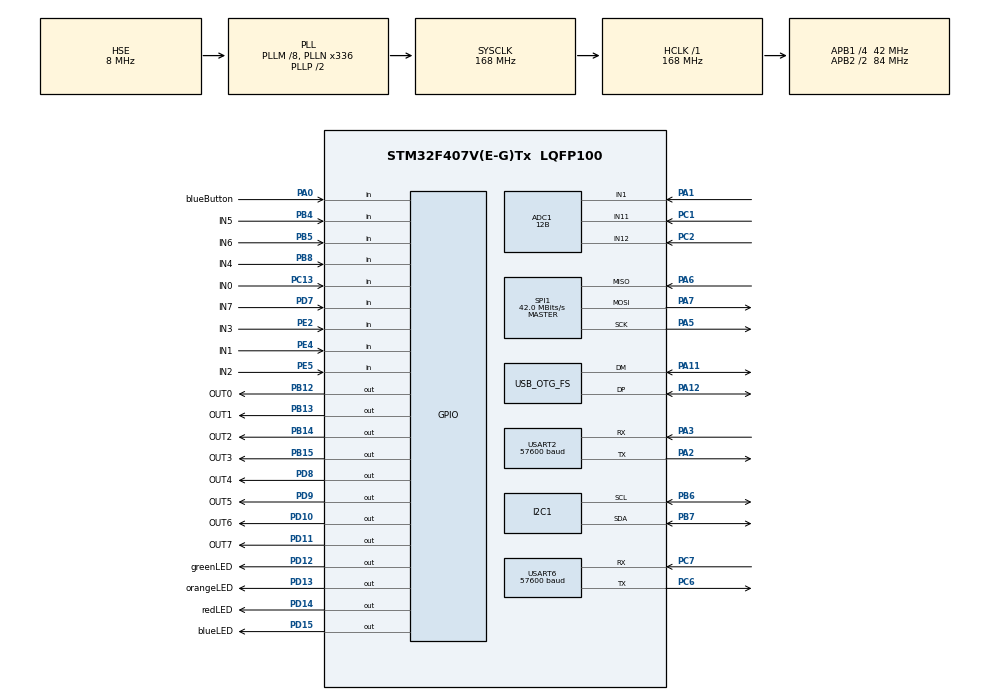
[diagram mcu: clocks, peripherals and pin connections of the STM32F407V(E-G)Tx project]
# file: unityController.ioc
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ADC1.Channel-121\#ChannelRegularConversion=ADC_CHANNEL_1
ADC1.Channel-122\#ChannelRegularConversion=ADC_CHANNEL_11
ADC1.Channel-123\#ChannelRegularConversion=ADC_CHANNEL_12
ADC1.ClockPrescaler=ADC_CLOCK_SYNC_PCLK_DIV4
ADC1.ContinuousConvMode=ENABLE
ADC1.DMAContinuousRequests=ENABLE
ADC1.DataAlign=ADC_DATAALIGN_RIGHT
ADC1.DiscontinuousConvMode=DISABLE
ADC1.EOCSelection=ADC_EOC_SINGLE_CONV
ADC1.EnableAnalogWatchDog=false
ADC1.ExternalTrigConv=ADC_SOFTWARE_START
ADC1.ExternalTrigConvEdge=ADC_EXTERNALTRIGCONVEDGE_NONE
ADC1.InjNumberOfConversion=0
ADC1.NbrOfConversion=3
ADC1.NbrOfConversionFlag=1
ADC1.Rank-121\#ChannelRegularConversion=1
ADC1.Rank-122\#ChannelRegularConversion=2
ADC1.Rank-123\#ChannelRegularConversion=3
ADC1.Resolution=ADC_RESOLUTION_12B
ADC1.SamplingTime-121\#ChannelRegularConversion=ADC_SAMPLETIME_84CYCLES
ADC1.SamplingTime-122\#ChannelRegularConversion=ADC_SAMPLETIME_84CYCLES
ADC1.SamplingTime-123\#ChannelRegularConversion=ADC_SAMPLETIME_84CYCLES
ADC1.ScanConvMode=ENABLE
ADC1.master=1
Dma.ADC1.0.Direction=DMA_PERIPH_TO_MEMORY
Dma.ADC1.0.FIFOMode=DMA_FIFOMODE_DISABLE
Dma.ADC1.0.Instance=DMA2_Stream0
Dma.ADC1.0.MemDataAlignment=DMA_MDATAALIGN_HALFWORD
Dma.ADC1.0.MemInc=DMA_MINC_ENABLE
Dma.ADC1.0.Mode=DMA_CIRCULAR
Dma.ADC1.0.PeriphDataAlignment=DMA_PDATAALIGN_HALFWORD
Dma.ADC1.0.PeriphInc=DMA_PINC_DISABLE
Dma.ADC1.0.Priority=DMA_PRIORITY_LOW
Dma.Request0=ADC1
Mcu.Family=STM32F4
Mcu.Name=STM32F407V(E-G)Tx
Mcu.Package=LQFP100
NVIC.DMA2_Stream0_IRQn=true\:0\:0\:false\:false\:true\:true
NVIC.OTG_FS_IRQn=true\:0\:0\:false\:false\:true\:true
NVIC.PriorityGroup=NVIC_PRIORITYGROUP_4
PA0-WKUP.GPIO_Label=blueButton
PA0-WKUP.Signal=GPIO_Input
PA1.Signal=ADCx_IN1
PA11.Mode=Device_Only
PA11.Signal=USB_OTG_FS_DM
PA12.Mode=Device_Only
PA12.Signal=USB_OTG_FS_DP
PA2.Mode=Asynchronous
PA2.Signal=USART2_TX
PA3.Mode=Asynchronous
PA3.Signal=USART2_RX
PA5.Mode=Full_Duplex_Master
PA5.Signal=SPI1_SCK
PA6.Mode=Full_Duplex_Master
PA6.Signal=SPI1_MISO
PA7.Mode=Full_Duplex_Master
PA7.Signal=SPI1_MOSI
PB12.GPIO_Label=OUT0
PB12.Signal=GPIO_Output
PB13.GPIO_Label=OUT1
PB13.Signal=GPIO_Output
PB14.GPIO_Label=OUT2
PB14.Signal=GPIO_Output
PB15.GPIO_Label=OUT3
PB15.Signal=GPIO_Output
PB4.GPIO_Label=IN5
PB4.GPIO_PuPd=GPIO_PULLUP
PB4.Signal=GPIO_Input
PB5.GPIO_Label=IN6
PB5.GPIO_PuPd=GPIO_PULLUP
PB5.Signal=GPIO_Input
PB6.Mode=I2C
PB6.Signal=I2C1_SCL
PB7.Mode=I2C
PB7.Signal=I2C1_SDA
PB8.GPIO_Label=IN4
PB8.GPIO_PuPd=GPIO_PULLUP
PB8.Signal=GPIO_Input
PC1.Signal=ADCx_IN11
PC13-ANTI_TAMP.GPIO_Label=IN0
PC13-ANTI_TAMP.GPIO_PuPd=GPIO_PULLUP
PC13-ANTI_TAMP.Signal=GPIO_Input
PC2.Signal=ADCx_IN12
PC6.Mode=Asynchronous
PC6.Signal=USART6_TX
PC7.Mode=Asynchronous
PC7.Signal=USART6_RX
PD10.GPIO_Label=OUT6
PD10.Signal=GPIO_Output
PD11.GPIO_Label=OUT7
PD11.Signal=GPIO_Output
PD12.GPIO_Label=greenLED
PD12.Signal=GPIO_Output
PD13.GPIO_Label=orangeLED
PD13.Signal=GPIO_Output
PD14.GPIO_Label=redLED
PD14.Signal=GPIO_Output
PD15.GPIO_Label=blueLED
PD15.Signal=GPIO_Output
PD7.GPIO_Label=IN7
PD7.GPIO_PuPd=GPIO_PULLUP
PD7.Signal=GPIO_Input
PD8.GPIO_Label=OUT4
PD8.Signal=GPIO_Output
PD9.GPIO_Label=OUT5
PD9.Signal=GPIO_Output
PE2.GPIO_Label=IN3
PE2.GPIO_PuPd=GPIO_PULLUP
PE2.Signal=GPIO_Input
PE4.GPIO_Label=IN1
PE4.GPIO_PuPd=GPIO_PULLUP
PE4.Signal=GPIO_Input
PE5.GPIO_Label=IN2
PE5.GPIO_PuPd=GPIO_PULLUP
PE5.Signal=GPIO_Input
PH0-OSC_IN.Mode=HSE-External-Oscillator
PH0-OSC_IN.Signal=RCC_OSC_IN
PH1-OSC_OUT.Mode=HSE-External-Oscillator
PH1-OSC_OUT.Signal=RCC_OSC_OUT
ProjectManager.HeapSize=0x200
ProjectManager.StackSize=0x400
ProjectManager.TargetToolchain=SW4STM32
RCC.48MHZClocksFreq_Value=48000000
RCC.AHBCLKDivider=RCC_SYSCLK_DIV1
RCC.AHBFreq_Value=168000000
RCC.APB1CLKDivider=RCC_HCLK_DIV4
RCC.APB1Freq_Value=42000000
RCC.APB1TimFreq_Value=84000000
RCC.APB2CLKDivider=RCC_HCLK_DIV2
RCC.APB2Freq_Value=84000000
RCC.APB2TimFreq_Value=168000000
RCC.CortexFreq_Value=168000000
RCC.HCLKFreq_Value=168000000
RCC.HSE_VALUE=8000000
RCC.HSI_VALUE=16000000
RCC.LSE_VALUE=32768
RCC.PLLM=8
RCC.PLLN=336
RCC.PLLQ=7
RCC.SYSCLKFreq_VALUE=168000000
RCC.SYSCLKSource=RCC_SYSCLKSOURCE_PLLCLK
RCC.VCOOutputFreq_Value=336000000
SH.ADCx_IN1.0=ADC1_IN1,IN1
SH.ADCx_IN11.0=ADC1_IN11,IN11
SH.ADCx_IN12.0=ADC1_IN12,IN12
SPI1.CalculateBaudRate=42.0 MBits/s
SPI1.Direction=SPI_DIRECTION_2LINES
SPI1.Mode=SPI_MODE_MASTER
SPI1.VirtualType=VM_MASTER
USART2.BaudRate=57600
USART2.VirtualMode=VM_ASYNC
USART6.BaudRate=57600
USART6.VirtualMode=VM_ASYNC
USB_DEVICE.CLASS_NAME_FS=CDC
USB_DEVICE.USBD_SELF_POWERED-CDC_FS=1
USB_DEVICE.VirtualMode-CDC_FS=Cdc
USB_DEVICE.VirtualModeFS=Cdc_FS
USB_OTG_FS.VirtualMode=Device_Only
VP_USB_DEVICE_VS_USB_DEVICE_CDC_FS.Mode=CDC_FS
board=unityController

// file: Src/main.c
/**
  ******************************************************************************
  * File Name          : main.c
  * Description        : Main program body
  ******************************************************************************
  * This notice applies to any and all portions of this file
  * that are not between comment pairs USER CODE BEGIN and
  * USER CODE END. Other portions of this file, whether
  * inserted by the user or by software development tools
  * are owned by their respective copyright owners.
  *
  * Copyright (c) 2017 STMicroelectronics International N.V.
  * All rights reserved.
  *
  * Redistribution and use in source and binary forms, with or without
  * modification, are permitted, provided that the following conditions are met:
  *
  * 1. Redistribution of source code must retain the above copyright notice,
  *    this list of conditions and the following disclaimer.
  * 2. Redistributions in binary form must reproduce the above copyright notice,
  *    this list of conditions and the following disclaimer in the documentation
  *    and/or other materials provided with the distribution.
  * 3. Neither the name of STMicroelectronics nor the names of other
  *    contributors to this software may be used to endorse or promote products
  *    derived from this software without specific written permission.
  * 4. This software, including modifications and/or derivative works of this
  *    software, must execute solely and exclusively on microcontroller or
  *    microprocessor devices manufactured by or for STMicroelectronics.
  * 5. Redistribution and use of this software other than as permitted under
  *    this license is void and will automatically terminate your rights under
  *    this license.
  *
  * THIS SOFTWARE IS PROVIDED BY STMICROELECTRONICS AND CONTRIBUTORS "AS IS"
  * AND ANY EXPRESS, IMPLIED OR STATUTORY WARRANTIES, INCLUDING, BUT NOT
  * LIMITED TO, THE IMPLIED WARRANTIES OF MERCHANTABILITY, FITNESS FOR A
  * PARTICULAR PURPOSE AND NON-INFRINGEMENT OF THIRD PARTY INTELLECTUAL PROPERTY
  * RIGHTS ARE DISCLAIMED TO THE FULLEST EXTENT PERMITTED BY LAW. IN NO EVENT
  * SHALL STMICROELECTRONICS OR CONTRIBUTORS BE LIABLE FOR ANY DIRECT, INDIRECT,
  * INCIDENTAL, SPECIAL, EXEMPLARY, OR CONSEQUENTIAL DAMAGES (INCLUDING, BUT NOT
  * LIMITED TO, PROCUREMENT OF SUBSTITUTE GOODS OR SERVICES; LOSS OF USE, DATA,
  * OR PROFITS; OR BUSINESS INTERRUPTION) HOWEVER CAUSED AND ON ANY THEORY OF
  * LIABILITY, WHETHER IN CONTRACT, STRICT LIABILITY, OR TORT (INCLUDING
  * NEGLIGENCE OR OTHERWISE) ARISING IN ANY WAY OUT OF THE USE OF THIS SOFTWARE,
  * EVEN IF ADVISED OF THE POSSIBILITY OF SUCH DAMAGE.
  *
  ******************************************************************************
  */
#include "main.h"
#include "stm32f4xx_hal.h"
#include "usb_device.h"

/* USER CODE BEGIN Includes */
#include "stm32f4_discovery_accelerometer.h"
#include "usbd_cdc.h"
/* USER CODE END Includes */

ADC_HandleTypeDef hadc1;
DMA_HandleTypeDef hdma_adc1;

I2C_HandleTypeDef hi2c1;

SPI_HandleTypeDef hspi1;

UART_HandleTypeDef huart2;
UART_HandleTypeDef huart6;

/* USER CODE BEGIN PV */
/* Private variables ---------------------------------------------------------*/
uint8_t receive_data[64];
uint8_t receive_serial[64];
uint8_t myData[64] = "hello\n";
int16_t XYZ[3];
uint16_t adcValues[3];
uint8_t inputPort[8];

/* USER CODE END PV */

void SystemClock_Config(void);
static void MX_GPIO_Init(void);
static void MX_DMA_Init(void);
static void MX_SPI1_Init(void);
static void MX_I2C1_Init(void);
static void MX_ADC1_Init(void);
static void MX_USART2_UART_Init(void);
static void MX_USART6_UART_Init(void);

/* USER CODE BEGIN PFP */
/* Private function prototypes -----------------------------------------------*/
#ifdef SEMIHOSTING
extern int initialise_monitor_handles(void); //semihosting
#endif
void parseRx(void);
void parseRx6(void);
/* USER CODE END PFP */

int main(void)
{

  /* USER CODE BEGIN 1 */
	uint16_t count=0;
	uint16_t checksum=0;
  /* USER CODE END 1 */

  /* MCU Configuration----------------------------------------------------------*/

  /* Reset of all peripherals, Initializes the Flash interface and the Systick. */
  HAL_Init();

  /* Configure the system clock */
  SystemClock_Config();

  /* Initialize all configured peripherals */
  MX_GPIO_Init();
  MX_DMA_Init();
  MX_USB_DEVICE_Init();
  MX_SPI1_Init();
  MX_I2C1_Init();
  MX_ADC1_Init();
  MX_USART2_UART_Init();
  MX_USART6_UART_Init();

  /* USER CODE BEGIN 2 */
#ifdef SEMIHOSTING
  initialise_monitor_handles(); //semihosting
#endif
  BSP_ACCELERO_Init();

  HAL_ADC_Start_DMA(&hadc1, adcValues, sizeof(uint16_t)*3);
  /* USER CODE END 2 */

  /* Infinite loop */
  /* USER CODE BEGIN WHILE */
  while (1)
  {
	  checksum=0;

	  //accelerometer
	  BSP_ACCELERO_GetXYZ(XYZ);

	  sprintf(myData, "###%03d%04X%04X%04X", (uint16_t)count,(uint16_t)XYZ[0], (uint16_t)XYZ[1], (uint16_t)XYZ[2]);
#ifdef SEMIHOSTING
	  printf("X: %0.2f\tY: %0.2f\tZ: %0.2f\n", (float)XYZ[0], (float)XYZ[1], (float)XYZ[2]);
#endif
	  //3 ADCs
	  sprintf(myData + 18, "%04d%04d%04d", (uint16_t)adcValues[0],(uint16_t)adcValues[1],(uint16_t)adcValues[2]);

	  //8 Digital inputs
	  inputPort[7] = (uint8_t)HAL_GPIO_ReadPin(IN7_GPIO_Port,IN7_Pin);
	  inputPort[6] = (uint8_t)HAL_GPIO_ReadPin(IN6_GPIO_Port,IN6_Pin);
	  inputPort[5] = (uint8_t)HAL_GPIO_ReadPin(IN5_GPIO_Port,IN5_Pin);
	  inputPort[4] = (uint8_t)HAL_GPIO_ReadPin(IN4_GPIO_Port,IN4_Pin);
	  inputPort[3] = (uint8_t)HAL_GPIO_ReadPin(IN3_GPIO_Port,IN3_Pin);
	  inputPort[2] = (uint8_t)HAL_GPIO_ReadPin(IN2_GPIO_Port,IN2_Pin);
	  inputPort[1] = (uint8_t)HAL_GPIO_ReadPin(IN1_GPIO_Port,IN1_Pin);
	  inputPort[0] = (uint8_t)HAL_GPIO_ReadPin(IN0_GPIO_Port,IN0_Pin);

	  //8 digital inputs
	  sprintf(myData + 30, "%0d", inputPort[7]); //strlen(myData)
	  sprintf(myData + 31, "%0d", inputPort[6]);
	  sprintf(myData + 32, "%0d", inputPort[5]);
	  sprintf(myData + 33, "%0d", inputPort[4]);
	  sprintf(myData + 34, "%0d", inputPort[3]);
	  sprintf(myData + 35, "%0d", inputPort[2]);
	  sprintf(myData + 36, "%0d", inputPort[1]);
	  sprintf(myData + 37, "%0d", inputPort[0]);

	  //Blue Button
	  sprintf(myData + 38, "%0d", HAL_GPIO_ReadPin(blueButton_GPIO_Port, blueButton_Pin));

	  //calculate checksum
	  for(int loop=3; loop<=strlen(myData); loop++)
	  {
		  checksum += myData[loop];
	  }
	  checksum %=1000;	//3 digits
	  sprintf(myData + 39, "%03d\r\n", checksum);

	  //USBD_CDC_SetTxBuffer(&hUsbDeviceFS, myData, 7);
	  CDC_Transmit_FS(myData, 44);  //micro usb 		-- strlen((const char*)myData)

	  HAL_UART_Transmit(&huart2, myData, 44, 1000); //mini usb uart to stlink 	-- strlen((const char*)myData)
	  HAL_UART_Transmit(&huart6, myData, 44, 1000); //PC6 PC7 - connect to nodemcu
	  //printf("%s", myData);  //semihosting - console
	  count++;
	  count%=1000;	//000-999

	  parseRx();

	  HAL_Delay(10);
  /* USER CODE END WHILE */

  }

}

/** System Clock Configuration
*/
void SystemClock_Config(void)
{

  RCC_OscInitTypeDef RCC_OscInitStruct;
  RCC_ClkInitTypeDef RCC_ClkInitStruct;

    /**Configure the main internal regulator output voltage
    */
  __HAL_RCC_PWR_CLK_ENABLE();

  __HAL_PWR_VOLTAGESCALING_CONFIG(PWR_REGULATOR_VOLTAGE_SCALE1);

    /**Initializes the CPU, AHB and APB busses clocks
    */
  RCC_OscInitStruct.OscillatorType = RCC_OSCILLATORTYPE_HSE;
  RCC_OscInitStruct.HSEState = RCC_HSE_ON;
  RCC_OscInitStruct.PLL.PLLState = RCC_PLL_ON;
  RCC_OscInitStruct.PLL.PLLSource = RCC_PLLSOURCE_HSE;
  RCC_OscInitStruct.PLL.PLLM = 8;
  RCC_OscInitStruct.PLL.PLLN = 336;
  RCC_OscInitStruct.PLL.PLLP = RCC_PLLP_DIV2;
  RCC_OscInitStruct.PLL.PLLQ = 7;
  if (HAL_RCC_OscConfig(&RCC_OscInitStruct) != HAL_OK)
  {
    _Error_Handler(__FILE__, __LINE__);
  }

    /**Initializes the CPU, AHB and APB busses clocks
    */
  RCC_ClkInitStruct.ClockType = RCC_CLOCKTYPE_HCLK|RCC_CLOCKTYPE_SYSCLK
                              |RCC_CLOCKTYPE_PCLK1|RCC_CLOCKTYPE_PCLK2;
  RCC_ClkInitStruct.SYSCLKSource = RCC_SYSCLKSOURCE_PLLCLK;
  RCC_ClkInitStruct.AHBCLKDivider = RCC_SYSCLK_DIV1;
  RCC_ClkInitStruct.APB1CLKDivider = RCC_HCLK_DIV4;
  RCC_ClkInitStruct.APB2CLKDivider = RCC_HCLK_DIV2;

  if (HAL_RCC_ClockConfig(&RCC_ClkInitStruct, FLASH_LATENCY_5) != HAL_OK)
  {
    _Error_Handler(__FILE__, __LINE__);
  }

    /**Configure the Systick interrupt time
    */
  HAL_SYSTICK_Config(HAL_RCC_GetHCLKFreq()/1000);

    /**Configure the Systick
    */
  HAL_SYSTICK_CLKSourceConfig(SYSTICK_CLKSOURCE_HCLK);

  /* SysTick_IRQn interrupt configuration */
  HAL_NVIC_SetPriority(SysTick_IRQn, 0, 0);
}

/* ADC1 init function */
static void MX_ADC1_Init(void)
{

  ADC_ChannelConfTypeDef sConfig;

    /**Configure the global features of the ADC (Clock, Resolution, Data Alignment and number of conversion)
    */
  hadc1.Instance = ADC1;
  hadc1.Init.ClockPrescaler = ADC_CLOCK_SYNC_PCLK_DIV4;
  hadc1.Init.Resolution = ADC_RESOLUTION_12B;
  hadc1.Init.ScanConvMode = ENABLE;
  hadc1.Init.ContinuousConvMode = ENABLE;
  hadc1.Init.DiscontinuousConvMode = DISABLE;
  hadc1.Init.ExternalTrigConvEdge = ADC_EXTERNALTRIGCONVEDGE_NONE;
  hadc1.Init.ExternalTrigConv = ADC_SOFTWARE_START;
  hadc1.Init.DataAlign = ADC_DATAALIGN_RIGHT;
  hadc1.Init.NbrOfConversion = 3;
  hadc1.Init.DMAContinuousRequests = ENABLE;
  hadc1.Init.EOCSelection = ADC_EOC_SINGLE_CONV;
  if (HAL_ADC_Init(&hadc1) != HAL_OK)
  {
    _Error_Handler(__FILE__, __LINE__);
  }

    /**Configure for the selected ADC regular channel its corresponding rank in the sequencer and its sample time.
    */
  sConfig.Channel = ADC_CHANNEL_1;
  sConfig.Rank = 1;
  sConfig.SamplingTime = ADC_SAMPLETIME_84CYCLES;
  if (HAL_ADC_ConfigChannel(&hadc1, &sConfig) != HAL_OK)
  {
    _Error_Handler(__FILE__, __LINE__);
  }

    /**Configure for the selected ADC regular channel its corresponding rank in the sequencer and its sample time.
    */
  sConfig.Channel = ADC_CHANNEL_11;
  sConfig.Rank = 2;
  if (HAL_ADC_ConfigChannel(&hadc1, &sConfig) != HAL_OK)
  {
    _Error_Handler(__FILE__, __LINE__);
  }

    /**Configure for the selected ADC regular channel its corresponding rank in the sequencer and its sample time.
    */
  sConfig.Channel = ADC_CHANNEL_12;
  sConfig.Rank = 3;
  if (HAL_ADC_ConfigChannel(&hadc1, &sConfig) != HAL_OK)
  {
    _Error_Handler(__FILE__, __LINE__);
  }

}

/* I2C1 init function */
static void MX_I2C1_Init(void)
{

  hi2c1.Instance = I2C1;
  hi2c1.Init.ClockSpeed = 100000;
  hi2c1.Init.DutyCycle = I2C_DUTYCYCLE_2;
  hi2c1.Init.OwnAddress1 = 0;
  hi2c1.Init.AddressingMode = I2C_ADDRESSINGMODE_7BIT;
  hi2c1.Init.DualAddressMode = I2C_DUALADDRESS_DISABLE;
  hi2c1.Init.OwnAddress2 = 0;
  hi2c1.Init.GeneralCallMode = I2C_GENERALCALL_DISABLE;
  hi2c1.Init.NoStretchMode = I2C_NOSTRETCH_DISABLE;
  if (HAL_I2C_Init(&hi2c1) != HAL_OK)
  {
    _Error_Handler(__FILE__, __LINE__);
  }

}

/* SPI1 init function */
static void MX_SPI1_Init(void)
{

  /* SPI1 parameter configuration*/
  hspi1.Instance = SPI1;
  hspi1.Init.Mode = SPI_MODE_MASTER;
  hspi1.Init.Direction = SPI_DIRECTION_2LINES;
  hspi1.Init.DataSize = SPI_DATASIZE_8BIT;
  hspi1.Init.CLKPolarity = SPI_POLARITY_LOW;
  hspi1.Init.CLKPhase = SPI_PHASE_1EDGE;
  hspi1.Init.NSS = SPI_NSS_SOFT;
  hspi1.Init.BaudRatePrescaler = SPI_BAUDRATEPRESCALER_2;
  hspi1.Init.FirstBit = SPI_FIRSTBIT_MSB;
  hspi1.Init.TIMode = SPI_TIMODE_DISABLE;
  hspi1.Init.CRCCalculation = SPI_CRCCALCULATION_DISABLE;
  hspi1.Init.CRCPolynomial = 10;
  if (HAL_SPI_Init(&hspi1) != HAL_OK)
  {
    _Error_Handler(__FILE__, __LINE__);
  }

}

/* USART2 init function */
static void MX_USART2_UART_Init(void)
{

  huart2.Instance = USART2;
  huart2.Init.BaudRate = 57600;
  huart2.Init.WordLength = UART_WORDLENGTH_8B;
  huart2.Init.StopBits = UART_STOPBITS_1;
  huart2.Init.Parity = UART_PARITY_NONE;
  huart2.Init.Mode = UART_MODE_TX_RX;
  huart2.Init.HwFlowCtl = UART_HWCONTROL_NONE;
  huart2.Init.OverSampling = UART_OVERSAMPLING_16;
  if (HAL_UART_Init(&huart2) != HAL_OK)
  {
    _Error_Handler(__FILE__, __LINE__);
  }

}

/* USART6 init function */
static void MX_USART6_UART_Init(void)
{

  huart6.Instance = USART6;
  huart6.Init.BaudRate = 57600;
  huart6.Init.WordLength = UART_WORDLENGTH_8B;
  huart6.Init.StopBits = UART_STOPBITS_1;
  huart6.Init.Parity = UART_PARITY_NONE;
  huart6.Init.Mode = UART_MODE_TX_RX;
  huart6.Init.HwFlowCtl = UART_HWCONTROL_NONE;
  huart6.Init.OverSampling = UART_OVERSAMPLING_16;
  if (HAL_UART_Init(&huart6) != HAL_OK)
  {
    _Error_Handler(__FILE__, __LINE__);
  }

}

static void MX_DMA_Init(void)
{
  /* DMA controller clock enable */
  __HAL_RCC_DMA2_CLK_ENABLE();

  /* DMA interrupt init */
  /* DMA2_Stream0_IRQn interrupt configuration */
  HAL_NVIC_SetPriority(DMA2_Stream0_IRQn, 0, 0);
  HAL_NVIC_EnableIRQ(DMA2_Stream0_IRQn);

}

/** Configure pins as
        * Analog
        * Input
        * Output
        * EVENT_OUT
        * EXTI
*/
static void MX_GPIO_Init(void)
{

  GPIO_InitTypeDef GPIO_InitStruct;

  /* GPIO Ports Clock Enable */
  __HAL_RCC_GPIOE_CLK_ENABLE();
  __HAL_RCC_GPIOC_CLK_ENABLE();
  __HAL_RCC_GPIOH_CLK_ENABLE();
  __HAL_RCC_GPIOA_CLK_ENABLE();
  __HAL_RCC_GPIOB_CLK_ENABLE();
  __HAL_RCC_GPIOD_CLK_ENABLE();

  /*Configure GPIO pin Output Level */
  HAL_GPIO_WritePin(GPIOB, OUT0_Pin|OUT1_Pin|OUT2_Pin|OUT3_Pin, GPIO_PIN_RESET);

  /*Configure GPIO pin Output Level */
  HAL_GPIO_WritePin(GPIOD, OUT4_Pin|OUT5_Pin|OUT6_Pin|OUT7_Pin
                          |greenLED_Pin|orangeLED_Pin|redLED_Pin|blueLED_Pin, GPIO_PIN_RESET);

  /*Configure GPIO pins : IN3_Pin IN1_Pin IN2_Pin */
  GPIO_InitStruct.Pin = IN3_Pin|IN1_Pin|IN2_Pin;
  GPIO_InitStruct.Mode = GPIO_MODE_INPUT;
  GPIO_InitStruct.Pull = GPIO_PULLUP;
  HAL_GPIO_Init(GPIOE, &GPIO_InitStruct);

  /*Configure GPIO pin : IN0_Pin */
  GPIO_InitStruct.Pin = IN0_Pin;
  GPIO_InitStruct.Mode = GPIO_MODE_INPUT;
  GPIO_InitStruct.Pull = GPIO_PULLUP;
  HAL_GPIO_Init(IN0_GPIO_Port, &GPIO_InitStruct);

  /*Configure GPIO pin : blueButton_Pin */
  GPIO_InitStruct.Pin = blueButton_Pin;
  GPIO_InitStruct.Mode = GPIO_MODE_INPUT;
  GPIO_InitStruct.Pull = GPIO_NOPULL;
  HAL_GPIO_Init(blueButton_GPIO_Port, &GPIO_InitStruct);

  /*Configure GPIO pins : OUT0_Pin OUT1_Pin OUT2_Pin OUT3_Pin */
  GPIO_InitStruct.Pin = OUT0_Pin|OUT1_Pin|OUT2_Pin|OUT3_Pin;
  GPIO_InitStruct.Mode = GPIO_MODE_OUTPUT_PP;
  GPIO_InitStruct.Pull = GPIO_NOPULL;
  GPIO_InitStruct.Speed = GPIO_SPEED_FREQ_LOW;
  HAL_GPIO_Init(GPIOB, &GPIO_InitStruct);

  /*Configure GPIO pins : OUT4_Pin OUT5_Pin OUT6_Pin OUT7_Pin
                           greenLED_Pin orangeLED_Pin redLED_Pin blueLED_Pin */
  GPIO_InitStruct.Pin = OUT4_Pin|OUT5_Pin|OUT6_Pin|OUT7_Pin
                          |greenLED_Pin|orangeLED_Pin|redLED_Pin|blueLED_Pin;
  GPIO_InitStruct.Mode = GPIO_MODE_OUTPUT_PP;
  GPIO_InitStruct.Pull = GPIO_NOPULL;
  GPIO_InitStruct.Speed = GPIO_SPEED_FREQ_LOW;
  HAL_GPIO_Init(GPIOD, &GPIO_InitStruct);

  /*Configure GPIO pin : IN7_Pin */
  GPIO_InitStruct.Pin = IN7_Pin;
  GPIO_InitStruct.Mode = GPIO_MODE_INPUT;
  GPIO_InitStruct.Pull = GPIO_PULLUP;
  HAL_GPIO_Init(IN7_GPIO_Port, &GPIO_InitStruct);

  /*Configure GPIO pins : IN5_Pin IN6_Pin IN4_Pin */
  GPIO_InitStruct.Pin = IN5_Pin|IN6_Pin|IN4_Pin;
  GPIO_InitStruct.Mode = GPIO_MODE_INPUT;
  GPIO_InitStruct.Pull = GPIO_PULLUP;
  HAL_GPIO_Init(GPIOB, &GPIO_InitStruct);

}

/* USER CODE BEGIN 4 */
void parseRx(void)
{
	  HAL_UART_Receive(&huart2, receive_serial, 50, 500 );
	  if(strlen(receive_serial)>0)
	  {
		  int state=0; //state machine
		  volatile int rxChecksum=0;
		  int calcChecksum=0;

		  HAL_UART_Transmit(&huart2, receive_serial, strlen((const char*)receive_serial), 500);
		  for(int loop=0; loop<strlen((const char*)receive_serial); loop++)
		  {
			  switch(state)
			  {
			  case 0:
			  case 1:
			  case 2:
				  if(receive_serial[loop]=='#')
				  {
					  state++;
				  }
				  else
				  {
					  state=0;
				  }
				  break;
				  //digital outputs
			  case 3:
				  //checksum 576-588 with onboard LEDs, was 384-392
				  for(int count=3; count<15; count++)
				  {
					  calcChecksum+=receive_serial[count];
				  }
				  rxChecksum = (receive_serial[15]-'0') * 100;
				  rxChecksum += (receive_serial[16]-'0') * 10;
				  rxChecksum += (receive_serial[17]-'0');

				  if(calcChecksum==rxChecksum) //valid checksum?
				  {
				  HAL_GPIO_WritePin(OUT7_GPIO_Port, OUT7_Pin,receive_serial[loop]-'0'); 	//yes
				  state++;
				  }
				  else
				  {
					  state=0;	//no
				  }
				  break;
			  case 4:
				  HAL_GPIO_WritePin(OUT6_GPIO_Port, OUT6_Pin,receive_serial[loop]-'0');
				  state++;
				  break;
			  case 5:
				  HAL_GPIO_WritePin(OUT5_GPIO_Port, OUT5_Pin,receive_serial[loop]-'0');
				  state++;
				  break;
			  case 6:
				  HAL_GPIO_WritePin(OUT4_GPIO_Port, OUT4_Pin,receive_serial[loop]-'0');
				  state++;
				  break;
			  case 7:
				  HAL_GPIO_WritePin(OUT3_GPIO_Port, OUT3_Pin,receive_serial[loop]-'0');
				  state++;
				  break;
			  case 8:
				  HAL_GPIO_WritePin(OUT2_GPIO_Port, OUT2_Pin,receive_serial[loop]-'0');
				  state++;
				  break;
			  case 9:
				  HAL_GPIO_WritePin(OUT1_GPIO_Port, OUT1_Pin,receive_serial[loop]-'0');
				  state++;
				  break;
			  case 10:
				  HAL_GPIO_WritePin(OUT0_GPIO_Port, OUT0_Pin,receive_serial[loop]-'0');
				  state++;
				  break;
			  case 11:
				  HAL_GPIO_WritePin(blueLED_GPIO_Port, blueLED_Pin, receive_serial[loop]-'0');
				  state++;
				  break;
			  case 12:
				  HAL_GPIO_WritePin(redLED_GPIO_Port, redLED_Pin,receive_serial[loop]-'0');
				  state++;
				  break;
			  case 13:
				  HAL_GPIO_WritePin(orangeLED_GPIO_Port, orangeLED_Pin,receive_serial[loop]-'0');
				  state++;
				  break;
			  case 14:
				  HAL_GPIO_WritePin(greenLED_GPIO_Port, greenLED_Pin,receive_serial[loop]-'0');
				  state++;
				  break;

			  }

			  }

		  }

		  receive_serial[0]=0;

}

/* USER CODE END 4 */

void _Error_Handler(char * file, int line)
{
  while(1)
  {
  }
}

/************************ (C) COPYRIGHT STMicroelectronics *****END OF FILE****/
